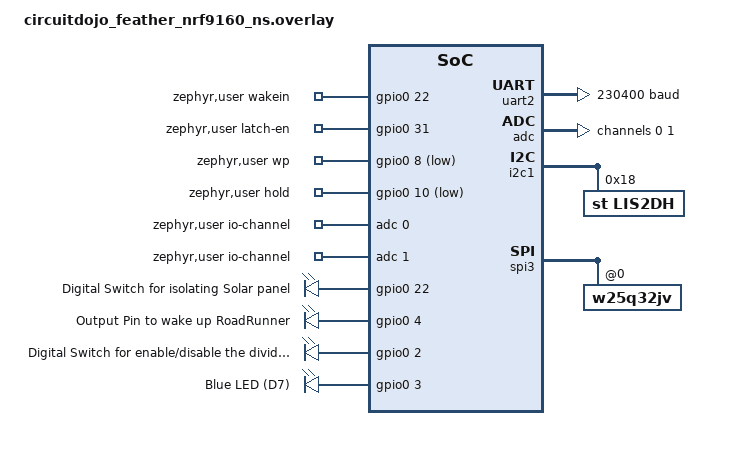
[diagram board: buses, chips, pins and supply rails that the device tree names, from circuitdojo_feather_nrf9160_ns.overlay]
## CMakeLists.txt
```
# SPDX-License-Identifier: Apache-2.0

cmake_minimum_required(VERSION 3.20.0)

find_package(Zephyr REQUIRED HINTS $ENV{ZEPHYR_BASE})
project(battery_free_AI)
include_directories("include/")
# target_sources(app PRIVATE src/main.c src/modem.c src/battery.c src/i2c_sensor4.c src/switch1.c src/lowpower.c src/opencircuit.c src/switch_divider.c src/read_solar.c)
target_sources(app PRIVATE src/main.c src/astar.c src/lowpower.c src/modem.c src/nrf_wakeup.c src/opencircuit.c 
                            src/read_solar.c src/read_vcap.c src/roadruner_wakeup.c src/serial_interface.c src/switch_Vpv_divider.c)
```

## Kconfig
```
# Start- *********************** Kconfig for LTE-M/NB-IoT (AsTAR++) *************************** 
menu "UDP Sample Settings"

config UDP_SERVER_ADDRESS_STATIC
	string "UDP server IP address"
	default "103.77.166.234"	

config UDP_SERVER_PORT
	int "UDP server port number"
	default "7011"

config UDP_PSM_ENABLE
	bool "Enable LTE Power Saving Mode"
	default y

config UDP_EDRX_ENABLE
	bool "Enable LTE enhanced Discontinuous Reception"
	default n
endmenu

module = UDP
module-str = UDP sample
source "${ZEPHYR_BASE}/subsys/logging/Kconfig.template.log_config"

menu "Zephyr Kernel"
source "Kconfig.zephyr"
endmenu
# Stop- *********************** Kconfig for LTE-M/NB-IoT (AsTAR++) ***************************
```

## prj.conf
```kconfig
# Stacks and heaps
CONFIG_MAIN_STACK_SIZE=8192
CONFIG_HEAP_MEM_POOL_SIZE=16384
CONFIG_WATCHDOG=n

CONFIG_BOOTLOADER_MCUBOOT=y

CONFIG_REBOOT=y
CONFIG_DEBUG=n
CONFIG_NEWLIB_LIBC=y
CONFIG_NEWLIB_LIBC_FLOAT_PRINTF=y

CONFIG_ADC=y
CONFIG_ADC_NRFX_SAADC=y

# Add the accelerometer
CONFIG_SENSOR=y
CONFIG_LIS2DH=y

# Network
CONFIG_NETWORKING=y
CONFIG_NET_SOCKETS=y
CONFIG_NET_NATIVE=n
CONFIG_NET_SOCKETS_OFFLOAD=y

# Modem library
CONFIG_NRF_MODEM_LIB=y
CONFIG_MODEM_INFO=y

# LTE parameters
CONFIG_LTE_NETWORK_MODE_NBIOT=y

CONFIG_LTE_LINK_CONTROL=y
CONFIG_LTE_AUTO_INIT_AND_CONNECT=n

# PSM
CONFIG_UDP_PSM_ENABLE=y
CONFIG_LTE_PSM_REQ_RPTAU="01001100"
CONFIG_LTE_PSM_REQ_RAT="00000000"

# RAI
CONFIG_LTE_RAI_REQ_VALUE="4"

CONFIG_I2C=y
CONFIG_CBPRINTF_FP_SUPPORT=y

CONFIG_LIS2DH_TRIGGER_GLOBAL_THREAD=y
CONFIG_LIS2DH_ODR_RUNTIME=y

CONFIG_SPI=y
CONFIG_SPI_NOR=y
CONFIG_SPI_NOR_FLASH_LAYOUT_PAGE_SIZE=4096
CONFIG_SPI_NOR_IDLE_IN_DPD=y

CONFIG_FLASH=y
CONFIG_FLASH_MAP=y
CONFIG_FLASH_PAGE_LAYOUT=y

CONFIG_LOG=y
CONFIG_SERIAL=y

CONFIG_PM_DEVICE=y

# Network
CONFIG_NET_SOCKETS_POSIX_NAMES=y
CONFIG_NRF_MODEM_LIB_TRACE=n

# PSM & eDRX enable
CONFIG_LTE_EDRX_REQ=y
CONFIG_LTE_PSM_REQ=y

# Async
# CONFIG_UART_LINE_CTRL=y
# CONFIG_IMG_MANAGER=y
# CONFIG_STREAM_FLASH=y
# CONFIG_MCUBOOT_IMG_MANAGER=y
# CONFIG_IMG_ERASE_PROGRESSIVELY=y


CONFIG_UART_ASYNC_API=y
```

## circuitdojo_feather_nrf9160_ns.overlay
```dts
/*
 * Copyright (c) 2020 Circuit Dojo LLC
 *
 * SPDX-License-Identifier: Apache-2.0
 */

//*************************** Serial Interface - S **************************
&uart2 {
    status = "okay";
    current-speed = <230400>;
    label = "Serial Interface between Flute and RoadRunner";
};


/{
    zephyr,user {
        wakein-gpios = <&gpio0 22 GPIO_ACTIVE_HIGH>;
    };
};
// *************************** Serial Interface - E *************************


//*************************** ADC Config. for READING Vpv - S **************************
/ {
	zephyr,user {
		io-channels = <&adc 0>, <&adc 1>;
	};
};

&adc {
	#address-cells = <1>;
	#size-cells = <0>;
    
	channel@0 {
		reg = <0>;
		zephyr,gain = "ADC_GAIN_1_6";
		zephyr,reference = "ADC_REF_INTERNAL";
		zephyr,acquisition-time = <ADC_ACQ_TIME_DEFAULT>;
		zephyr,input-positive = <NRF_SAADC_AIN0>;
		zephyr,resolution = <12>;
	};

	channel@1 {
		reg = <1>;
		zephyr,gain = "ADC_GAIN_1_6";
		zephyr,reference = "ADC_REF_INTERNAL";
		zephyr,acquisition-time = <ADC_ACQ_TIME_DEFAULT>;
		zephyr,input-positive = <NRF_SAADC_AIN1>; // P0.04
		zephyr,resolution = <12>;
	};
};

//********************  ADC Config. for READING Vpv - E **********************


//**************** Turn OFF DS isolating the solar panel when V > Vmax (S2) *****************
/{    
    Vu_OpenCircuit{
		compatible = "gpio-leds";
        label = "Digital Switch for isolating solar Panelss when V > Vmax";
		OpenCircuit: switch_solar{
			gpios = <&gpio0 22 (GPIO_PULL_UP | GPIO_ACTIVE_HIGH)>;
            label = "Digital Switch for isolating Solar panel";
		};
    };

    aliases {
        opencircuit = &OpenCircuit;
    };
};
//***************** Turn OFF DS isolating the solar panel when V > Vmax (S2) - E ****************

//*************************** Overlay File for Digital Switches (S3) - S **************************
/{  
    Vu_Output_Pin1{
		compatible = "gpio-leds";
        label = "Output Pin to wake up RoadRunner";
		D_OP1: outputpin1 {
			// gpios = <&gpio0 4 (GPIO_PULL_DOWN | GPIO_ACTIVE_HIGH)>;
            gpios = <&gpio0 4 (GPIO_PULL_UP | GPIO_ACTIVE_HIGH)>;
			label = "Output Pin to wake up RoadRunner";
		};
    };
    
    aliases {
        op1 = &D_OP1;
    };
};
//*************************** Overlay File for Digital Switches (S3) - E **************************

//********************* Enable/Disable the divider of V_solar reading (S1) - S ******************** 
/{  
    Vu_Digital_Switches{
		compatible = "gpio-leds";
        label = "Digital Switch";
		D_SW3: digital_sw3 {
            gpios = <&gpio0 2 GPIO_ACTIVE_HIGH>;
			label = "Digital Switch for enable/disable the divider of V_solar reading";
		};
    };
    
    aliases {
        swdivider = &D_SW3;
    };
};
//***************** Enable/Disable the divider of V_solar reading (S1) - E ******************


//=================================================================================================
//******************** Ultra Low power for Circuit Dojo - S ********************
/{
    zephyr,user {
        latch-en-gpios = <&gpio0 31 GPIO_ACTIVE_HIGH>;
        wp-gpios = < &gpio0 8 GPIO_ACTIVE_LOW >;
        hold-gpios = < &gpio0 10 GPIO_ACTIVE_LOW >;
    };

    leds {
        compatible = "gpio-leds";
        blue_led: led_0 {
            gpios = <&gpio0 3 GPIO_ACTIVE_HIGH>;
            label = "Blue LED (D7)";
        };
    };
};
    
&gpio0 {
    sense-edge-mask = <0xffff>;
};

&i2c1 {
    lis2dh@18 {
        compatible = "st,lis2dh";
        reg = <0x18>;
        disconnect-sdo-sa0-pull-up;
    };
};
    
&spi3 {
    w25q32jv: w25q32jv@0 {
        /delete-property/ wp-gpios;
        /delete-property/ hold-gpios;
        t-enter-dpd = < 3500 >;
        t-exit-dpd = < 3500 >;
    };
};
// Stop - ******************** Ultra Low power for Circuit Dojo ********************
```

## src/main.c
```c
#include <zephyr/device.h>
#include <zephyr/devicetree.h>
#include <zephyr/kernel.h>
#include <zephyr/sys/printk.h>
#include <zephyr/sys/util.h>
#include <zephyr/drivers/gpio.h>
#include <zephyr/sys/reboot.h>

#include <inttypes.h>
#include <stddef.h>
#include <stdint.h>

// Declare header files
#include "enable_print.h"
#include "modem.h"
#include "lowpower.h"
#include "roadrunner_wakeup.h"
#include "serial_interface.h"
#include "nrf_wakeup.h"

#include "astar_paras.h"
#include "opencircuit.h"
#include "read_solar.h"
#include "switch_Vpv_divider.h"
#include "read_vcap.h"


LOG_MODULE_REGISTER(main);

uint8_t waterLevel_tx_len;
uint16_t waterLevel_tx_buf[2];
uint16_t waterlevel_tx;

int8_t ret;
//----------------------------------------------------------------------------------------
// ++++++++++++++++++++++ S- UART THREAD ++++++++++++++++++++++++
//----------------------------------------------------------------------------------------
#define UART_STACKSIZE 4096
#define THREAD_UARTPROCESS_PRIORITY 5
// void thread_uartprocess (void);
K_THREAD_DEFINE(thread_uartprocess_id, UART_STACKSIZE, thread_uartprocess, NULL, NULL, NULL,
	THREAD_UARTPROCESS_PRIORITY, 0, 0);
// -------------------------------------- E- UART THREAD ---------------------------------


//----------------------------------------------------------------------------------------
// ++++++++++++++++++++++ S- Re-connection THREAD ++++++++++++++++++++++++
//----------------------------------------------------------------------------------------
#define RECONN_STACK_SIZE  4096
#define RECONN_PRIORITY 5
// void reconnection_thread(void);
K_THREAD_DEFINE(ReConn_id, RECONN_STACK_SIZE, reconnection_thread, NULL, NULL, NULL,
		            RECONN_PRIORITY, 0, 0);
// ---------------------- E- Re-connection THREAD -----------------------------------------


//----------------------------------------------------------------------------------------
//++++++++++++++++++++++ Caps Overvoltage Protection THREAD ++++++++++++++++++++++++
//----------------------------------------------------------------------------------------
#define OVER_V_STACK_SIZE 4096
#define OVER_V_PRIORITY 4
// void overV_protection_thread(void);
K_THREAD_DEFINE(over_v_id, OVER_V_STACK_SIZE, overV_protection_thread, NULL, NULL, NULL,
	              OVER_V_PRIORITY, 0, 0);
//++++++++++++++++++++++ E- Caps Overvoltage Protection THREAD +++++++++++++++++++++


int main(void)
{
  if ENABLE_PRINT
    LOG_INF("Entering main function .....");
  
  // Power Management
  setup_gpio();			
	setup_accel();
	// setup_uart();      // Suspend UART2


  // Wake RoadRunner up
  ret = runner_wakeup_int();
  if(ret){
		if ENABLE_PRINT
      LOG_INF("RR wakeup - Fail to retrieving GPIO waking RoadRunner up");
		exit(1);
	}


  // Open circuit
	ret = check_gpio_sw2();
	if(ret){
      LOG_ERR("Open Circuit - Fail to retrieving GPIO controlling the digital switch from DTs");
		exit(1);
	}

  // Vpv divider
	ret = check_gpio_div_sw3();
	if(ret){
      LOG_ERR("Vpv Divider - Fail to retrieving GPIO for controlling the digital switch from DTs");
		exit(1);
	}
  turn_off_div_sw3();	     // Disable Vpv divider to save energy during the connection time

  
  // Initialize + Configurate modem
	modem_main_init();
  k_sleep(K_SECONDS(1));

  // Send start up notification (discarded at server)
  modem_transmitData_astar(0xFFFFu, 0xFFFFu, 0xFFFFu, 0xFFFFu);


  // To make sure that the RoadRunner UART is initialized before the nRF's
  runner_set_wakeup();
  k_sleep(K_SECONDS(5));
  uart_init();


  while (1)
  {

  //========================================================================================# 
  // Todo: Wake up RR                                                                       #
  //========================================================================================#
  if ENABLE_PRINT
    LOG_INF("Wake up RR to start working");
  runner_set_wakeup();

  //==========================================================================================================#
  // Todo: AsTAR - case 1: if Vcap <= shutOffVoltage (110% of V_brownout)                                     #     
  //        + Send UART message "P" to RR so that it enter powerdown mode                                     #
  //        + nRF enters deep sleep mode                                                                      #
  //==========================================================================================================#
  rerun_astar_after_suspension:
    k_sem_take(&my_semaphore_vcap, K_FOREVER);
    newV = read_Vcap_mv();
    if ENABLE_PRINT
      LOG_INF("The supercapacitor Voltage - Vcap = %d mV", newV);
    k_sem_give(&my_semaphore_vcap);
    if (newV <= shutOffVoltage) { 
      setSuspensionHandler();
      goto rerun_astar_after_suspension;
    }
    
    
    //==========================================================================================================================#
    // ToDo: Resume nRF UART so that the nRF is able to be waken up by the RR's UART interrupt and receive its UART message     #
    //==========================================================================================================================#
    if ENABLE_PRINT 
      LOG_INF("Resume UART to be able to be waken up by the RR UART interrupt and receive UART data");
    setup_uart0_ENA();
    setup_uart2_ENA();

    
    //==================================================================================================================#
    // Todo: Execute AsTAR++ scheduler (case 2 when Vcap > Vshutoff)                                                    #
    //==================================================================================================================#
    //------------------------ S- Connection Attemps -----------------------
    reconnection_times = reconnection_numbers();
    if ENABLE_PRINT
    {
      LOG_INF("The total number of re-connections to the eNodeB: %d", (reconnection_times));
      LOG_INF("Check Current Network Status: Is_Connected = %d", check_network_connection());
    }
    //----------------------- E- Connection Attemps -------------------------

    //-------------------------- S - Read V_solar ---------------------------
    isolate_solar();                  // To measure open-circuit Voltage
		turn_on_div_sw3();                // Enable Vpv divider
    k_sleep(K_MSEC(20));
		solarV = 2*(read_adc());          // Read Vpv
		// if (solarV > 7100) solarV = 7100;
		turn_off_div_sw3();	              // Disable Vpv divider
    if (newV > maxVoltage)
      isolate_solar();
    else 
      connect_solar();

    if ENABLE_PRINT
      LOG_INF("Voltage of Solar Panels - Vpv = %d mV", solarV);
    //-------------------------- E - Read V_solar --------------------------
    
    // Run AsTAR Scheduler - case 2 when Vcap > Vshutoff
    if ENABLE_PRINT
      LOG_INF("Run AsTAR scheduler when Vcap > Vshutoff");
    sleepTimer = schedule();


    // =======================================================================================================================#
    // Todo: Once the UART data (waterlevel/photo) is sent to nRF - "k_sem_give(&uart_data_ready, K_FOREVER)", nRF is         # 
    //          waken up and sends the UART data to the server - executed in "serial_interface.c"                             #  
    // =======================================================================================================================#

    //============================================================================================================================================#
    // ToDo: nRF automatically enters sleep state during the interval RR infers ML                                                                #
    //       + The nRF waits and sleeps until RR has finished the ML inference by using k_sem_take(&uart_process_rx_done, K_FOREVER);             #
    //           and then nRF is waken up by RR when RR send the UART waterlevel/photo data to after RR finishs its ML execution                  #    
    //============================================================================================================================================#
    if ENABLE_PRINT
      LOG_INF("nRF sleeps until the RR finishes its ML inference, and then RR wakes nRF up by sending UART waterlevel/photo data to it ...");
    k_sem_take(&uart_process_rx_done, K_FOREVER);   // Help nRF only send AsTAR paras to the server after receiving, processing and sending UART data to the server



    // Comment out for testing without Cellular network, please uncomment it when deploying the BEAVER
    // modem_transmitData_astar(newV, sleepTimer, solarV, reconnection_times);

    //Just for testing, please comment it out when deploying the BEAVER
    // sleepTimer = 60;

    //==========================================================================================================================#
    // Todo: Specify RR's sleeping mode                                                                                         #
    //    According to the sleep interval specified by AsTAR, the nRF transmits the corresponding sleep-mode command to the RR. #
    //      + if interval < 30m => Suspend-to-RAM Mode                                                                          #
    //      + if interval >=30m => Powerdown Mode                                                                               #
    //==========================================================================================================================#
    if ENABLE_PRINT
    {
      LOG_INF("Calcualted Sleep interval: %d (s)", sleepTimer);
      LOG_INF("Based on the calculated sleep interval => to send sleeping-mode command to the RR");
    }
    // if (sleepTimer < 839)
    // {
    //   uart_send_cmd_suspendRAM();
    //   if ENABLE_PRINT
    //     LOG_INF("suspend-to RAM command <S> has sent to the RR");
    // }
    // else
    // { 
    //   uart_send_cmd_powerdown();
    //   if ENABLE_PRINT
    //     LOG_INF("power-down command <P> has sent to the RR");
    // }
    uart_send_sleep_timer(sleepTimer);     // Send the sleep timer to RR, and RR will decide its sleeping mode based on the sleep timer value

    //==============================================================================================#
    // ToDo: Suspend UART before sleep to save the energy during sleep interval                     #
    //==============================================================================================#
    if ENABLE_PRINT
      LOG_INF("Suspend UART before sleep to save the energy during sleep interval");
    setup_uart2_DIS();    // Disable UART console
    setup_uart0_DIS();    // Disable UART console

    //==============================================================================================#
    // ToDo: Enter deep sleep                                                                       #
    //==============================================================================================#




    if ENABLE_PRINT
    {
      LOG_INF("The nRF is sleeping for %d (s)", sleepTimer);
      LOG_INF(" ----------------------------------------------------------------------------------------------------");
    }

    k_sleep(K_SECONDS(sleepTimer));
  }

  return (0);
}
```

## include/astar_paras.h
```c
//=============================================================================#
//  AsTAR ++                                                                   #
//=============================================================================#

#ifndef APPLICATION_ASTAR_PARAS_H
#define APPLICATION_ASTAR_PASAS_H

// #include <inttypes.h>
// #include <stddef.h>
// #include <stdint.h>
#include <math.h>

#include <zephyr/device.h>
#include <zephyr/devicetree.h>
// #include <zephyr/drivers/adc.h>
#include <zephyr/kernel.h>
#include <zephyr/sys/printk.h>
#include <zephyr/sys/util.h>
#include <zephyr/drivers/gpio.h>
#include <zephyr/sys/reboot.h>
#include <zephyr/logging/log.h>


// Declare GLOBAL variables
extern uint16_t  newV;
extern uint16_t  solarV;;
extern const uint16_t shutOffVoltage;
extern const uint16_t   maxVoltage;
extern uint16_t  sleepTimer;
extern uint16_t  reconnection_times;
extern struct k_sem my_semaphore_vcap;      // prevent a lot of threads from reading Vcap at the same time

// ---------------------------------------------------------------------------
// Function Definitions
// ---------------------------------------------------------------------------

// Declare Functions used in AsTAR++
void setSuspensionHandler(void);
uint32_t schedule(void);

// Thread definitions
void reconnection_thread(void);
void overV_protection_thread(void);

#endif  /*APPLICATION_ASTAR_PARAS_H*/
```

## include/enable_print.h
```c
#ifndef APLLICATION_ENABLE_PRINT
#define APPLICATION_ENABLE_PRINT

#define ENABLE_PRINT (1UL)

#endif /*APPLICATION_ENABLE_PRINT*/
```

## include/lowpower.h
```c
//=============================================================================#
// Power Management                                                            #
//=============================================================================#

#ifndef APPLICATION_LOWPOWER_H_
#define APPLICATION_LOWPOWER_H_

#include <zephyr/kernel.h>
#include <zephyr/devicetree.h>
#include <zephyr/drivers/sensor.h>
#include <zephyr/drivers/gpio.h>
#include <zephyr/drivers/uart.h>
#include <zephyr/pm/device.h>
#include <zephyr/logging/log.h>

#include <modem/lte_lc.h>
#include <modem/nrf_modem_lib.h>



static const struct device *const console_dev = DEVICE_DT_GET(DT_CHOSEN(zephyr_console));
static const struct device *const console_dev2 = DEVICE_DT_GET(DT_NODELABEL(uart2));		// Enable UART2 by using Power Management Subsystem

// Start - ************************************ For Low Power ***********************************
static const struct gpio_dt_spec sw0 = GPIO_DT_SPEC_GET(DT_ALIAS(sw0), gpios);
static const struct gpio_dt_spec led0 = GPIO_DT_SPEC_GET(DT_ALIAS(led0), gpios);
static const struct gpio_dt_spec latch_en = GPIO_DT_SPEC_GET(DT_PATH(zephyr_user), latch_en_gpios);

static const struct gpio_dt_spec wp = GPIO_DT_SPEC_GET(DT_PATH(zephyr_user), wp_gpios);
static const struct gpio_dt_spec hold = GPIO_DT_SPEC_GET(DT_PATH(zephyr_user), hold_gpios);
// Stop - ************************************ For Low Power ************************************

// Function definitions
void setup_accel(void);
int8_t setup_gpio(void);
int8_t setup_uart0_DIS();       // Disable UART console
int8_t setup_uart2_DIS();       // Disable UART2
int8_t setup_uart0_ENA();       // Enable UART console
int8_t setup_uart2_ENA();       // Enable UART2
#endif  /*APPLICATION_LOWPOWER_H_*/
```

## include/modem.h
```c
#ifndef APPLICATION_MODEM_H
#define APPLICATION_MODEM_H

#include <modem/lte_lc.h>
#include <zephyr/net/socket.h>
#include <zephyr/random/rand32.h>
#include <nrf_socket.h>
#include <zephyr/kernel.h>
#include <stdio.h>
#include <nrf_modem_at.h>
#include <modem/modem_info.h>
#include <modem/nrf_modem_lib.h>
#include <zephyr/logging/log.h>


#define UDP_IP_HEADER_SIZE 28
#define IMEI_LEN        15
#define PICTURE_LEN     
#define TX_BUFFER_LEN_DEPTH_ASTAR   (IMEI_LEN + 9)

#define MSGTYPE_INVALID                 0
#define MSGTYPE_SURVEY_RESULT_UPLOAD    1 
#define MSGTYPE_ACK                     5
#define MSGTYPE_ACK_UPDATEREADY         6 

extern uint16_t reconnection_times;

// ----------------------- S - Preparing data for sending -----------------------
// To send "IMEI + AsTAR++ parameters" to the server
void modem_transmitData_astar(uint16_t capMilliVolt, uint16_t sleepTime, 
						uint16_t solarV, uint16_t reconnection_times);
// To send data to the server						
void modem_transmitData();

// ----------------------- E - Preparing data for sending -----------------------

// Sending data to server
void modem_server_transmission_work_fn(struct k_work *work);

// called in "main" to initialize the MODEM and UDP connection
void modem_main_init(void);  
void modem_lte_handler(const struct lte_lc_evt *const evt);

// Modem to Cellular network connection
void modem_modem_init(void);
int8_t modem_configure_low_power(void);
void modem_modem_connect(void);

// UDP connection
int8_t modem_udp_init(void);
void modem_server_disconnect(void);
void modem_server_disconnect_rx(void);

//----------------------------- S - Reconnection ----------------------------
bool check_network_connection(void);
int8_t reconnect_to_network(void);
uint16_t reconnection_numbers(void);    // The number of reconnections
//---------------------------- E - Reconnection --------------------------
#endif	/*APPLICATION_MODEM_H*/
```

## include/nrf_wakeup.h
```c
//=============================================================================#
//  Management of Waking nRF up                                                #
//=============================================================================#

#ifndef APPLICATION_NRFWAKEUP_H
#define APPLICATION_NRFWAKEUP_H

#include <zephyr/kernel.h>
#include <zephyr/device.h>
#include <zephyr/devicetree.h>
#include <zephyr/drivers/gpio.h>
#include <stdlib.h>
#include <zephyr/logging/log.h>


// Function denifitions
int8_t nrf_wakeup_init(void);

#endif /*APPLICATION_NRFWAKEUP_H*/
```

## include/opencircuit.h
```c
//=============================================================================#
// Isolate the solar panel when V > Vmax to protect the system                 #
//=============================================================================#

#ifndef APPICATION_OPEN_CIRCUIT_H
#define APPICATION_OPEN_CIRCUIT_H

#include <zephyr/kernel.h>
#include <zephyr/device.h>
#include <zephyr/devicetree.h>
#include <zephyr/drivers/gpio.h>
#include <stdlib.h>                 // For Using "exit" function
#include <zephyr/logging/log.h>


int8_t check_gpio_sw2(void);
// Turrn on the Digital Switch to connect solar panels to charge the Caps
void connect_solar (void);
// Turrn off the Digital Switch to isolate solar panels from the Caps
void isolate_solar (void);

#endif  /*APPICATION_OPEN_CIRCUIT_H*/
```

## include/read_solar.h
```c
//=============================================================================#
/**
 * @brief: Read Voltage of solar Panels
 *     + Channel AIN0	
 *     + Resolution: 14 bit
*/
//=============================================================================#

#ifndef APPICATION_READ_SOLAR_H_
#define APPICATION_READ_SOLAR_H_

#include <zephyr/device.h>
#include <zephyr/devicetree.h>
#include <zephyr/drivers/adc.h>
#include <zephyr/kernel.h>
#include <zephyr/sys/printk.h>
#include <zephyr/sys/util.h>
#include <zephyr/logging/log.h>


// The number of ADC channels will be used ( = 1 means only AIN0 is ultilized)
#define ADC_NUM_CHANNELS 1			

#define ADC_NODE DT_PHANDLE(DT_PATH(zephyr_user), io_channels)

/* Common settings supported by most ADCs */
#define ADC_RESOLUTION          14
#define ADC_GAIN                ADC_GAIN_1_6
#define ADC_REFERENCE           ADC_REF_INTERNAL
#define ADC_ACQUISITION_TIME    ADC_ACQ_TIME_DEFAULT

// To read average ADC value
uint16_t read_adc(void);

#endif  /*APPICATION_READ_SOLAR_H*/
```

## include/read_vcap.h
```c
//=============================================================================#
/** 
 * @brief: v- Read Voltage of capacitor using:
 *     + Resolution: 14 bit"
 *     + Pin AIN1
 * @note: Vcap =! Vbatt in this case due to using the boost
*/                                                  #
//=============================================================================#

#ifndef APPICATION_READ_VCAP_H_
#define APPICATION_READ_VCAP_H_

#include <zephyr/kernel.h>
#include <zephyr/device.h>
#include <zephyr/drivers/adc.h>
#include <zephyr/drivers/gpio.h>
#include <zephyr/logging/log.h>
#include <zephyr/sys/util.h>

#include <zephyr/logging/log.h>

// AIN1
// ADC settings
#define ADC_RESOLUTION         14
#define ADC_GAIN               ADC_GAIN_1_6
#define ADC_REFERENCE          ADC_REF_INTERNAL
#define ADC_ACQUISITION_TIME   ADC_ACQ_TIME_DEFAULT
#define ADC_CHANNEL_ID         1

#define ADC_CHANNEL_INPUT SAADC_CH_PSELP_PSELP_AnalogInput1      // AIN1

int8_t Vcap_init(void);
uint16_t read_Vcap_mv(void);

#endif /*APPICATION_READ_VCAP_H_*/
```

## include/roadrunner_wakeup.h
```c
//=============================================================================#
// Management of Waking nRF up                                                 #
//      @brief: Used to wake the RR by pull its wake-up pin down               # 
//=============================================================================#
#ifndef APPLICATION_ROADRUNNERWAKEUP_H
#define APPLICATION_ROADRUNNERWAKEUP_H

#include <zephyr/kernel.h>
#include <zephyr/device.h>
#include <zephyr/devicetree.h>
#include <zephyr/drivers/gpio.h>
#include <stdlib.h>
#include <zephyr/logging/log.h>


// FUNCTION DEFINITIONS 
int8_t runner_wakeup_int(void);
void runner_set_wakeup(void);
void runner_reset_wakeup(void);

#endif  /*APPLICATION_ROADRUNNERWAKEUP_H*/
```

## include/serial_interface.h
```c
//=============================================================================#
//  UART Management                                                            #
//=============================================================================#

#ifndef APPLICATION_SERIAL_INTERFACE_H
#define APPLICATION_SERIAL_INTERFACE_H

#include <stdint.h>  // for uint16_t
#include <zephyr/kernel.h>
#include <zephyr/drivers/uart.h>
#include <zephyr/logging/log.h>
#include <zephyr/drivers/gpio.h>
#include <zephyr/logging/log.h>


#define UART_RX_TIMEOUT_US          2000
#define ZEPHYR_USER_NODE    DT_PATH(zephyr_user)


static volatile uint8_t uart_rx_buf[65535];
// Shared counters, volatile since ISR + thread both access them
static volatile uint16_t uart_rx_len;
static volatile uint16_t uart_rx_offset;


extern struct k_sem uart_data_ready;                // UART RX data is available and ready to be processed 
extern struct k_sem uart_process_rx_done;           // Finished processing UART RX data   

extern uint8_t waterLevel_tx_len;
extern uint16_t waterLevel_tx_buf[2];
extern uint16_t waterlevel_tx;

void uart_init(void);
void uart_send_ack(void);
void uart_send_nack(void);
void uart_send_ready(void);
void uart_process_rx(void);
void uart_send_cmd_suspendRAM(void);
void uart_send_cmd_powerdown(void);
void uart_send_sleep_timer(uint16_t value);

void thread_uartprocess (void);




#endif /*APPLICATION_SERIAL_INTERFACE_H*/
```

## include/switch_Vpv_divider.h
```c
// =============================================================================================================#
// Control a digital switch that enables a voltage divider for reading the solar panel voltage                  #
// =============================================================================================================#

#ifndef APPLICATION_SWITCH_VPV_DIVIDER_H
#define APPLICATION_SWITCH_VPV_DIVIDER_H

#include <zephyr/kernel.h>
#include <zephyr/device.h>
#include <zephyr/devicetree.h>
#include <zephyr/drivers/gpio.h>
#include <stdlib.h>
#include <zephyr/logging/log.h>

// FUNCTION DEFINITIONS 
int8_t check_gpio_div_sw3(void);
// To turrn on the Digital Switch
void turn_on_div_sw3(void);
// To turrn off the Digital Switch
void turn_off_div_sw3(void);

#endif  /*APPLICATION_SWITCH_VPV_DIVIDER_H*/
```

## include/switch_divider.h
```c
/**
 * @brief: v- To control a digital switch that enables a voltage divider for reading the solar panel voltage
 * 
*/

#ifndef SWITCH_DIVIDER_H
#define SWITCH_DIVIDER_H

#include <zephyr/kernel.h>
#include <zephyr/device.h>
#include <zephyr/devicetree.h>
#include <zephyr/drivers/gpio.h>
#include <stdlib.h>

// FUNCTION DEFINITIONS 
int8_t check_gpio_div_sw3(void);
// To turrn on the Digital Switch
void turn_on_div_sw3(void);
// To turrn off the Digital Switch
void turn_off_div_sw3(void);

#endif
```
